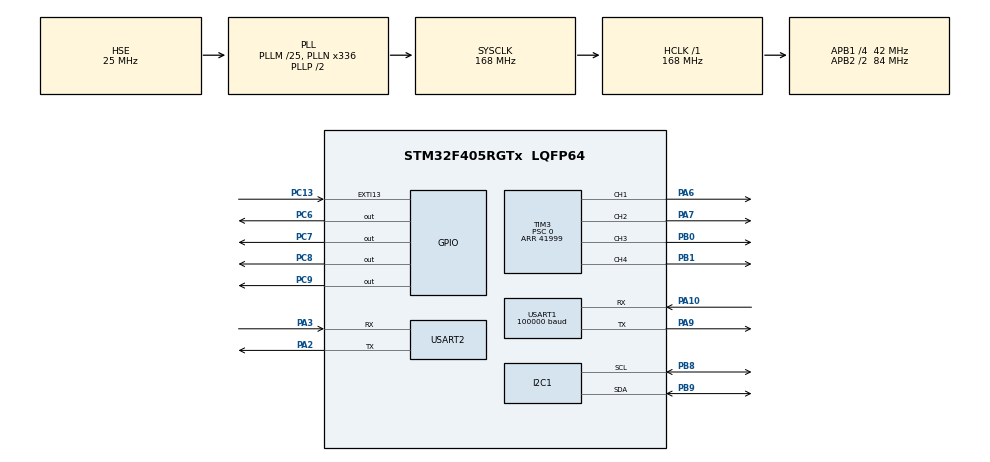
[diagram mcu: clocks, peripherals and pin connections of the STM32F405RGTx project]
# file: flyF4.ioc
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Mcu.Family=STM32F4
Mcu.Name=STM32F405RGTx
Mcu.Package=LQFP64
NVIC.EXTI15_10_IRQn=true\:0\:0\:false\:false\:true\:true\:true\:true
NVIC.PriorityGroup=NVIC_PRIORITYGROUP_4
NVIC.TIM4_IRQn=true\:0\:0\:false\:false\:true\:true\:true\:true
NVIC.USART1_IRQn=true\:0\:0\:false\:false\:true\:true\:true\:true
NVIC.USART2_IRQn=true\:0\:0\:false\:false\:true\:true\:true\:true
PA10.Mode=Asynchronous
PA10.Signal=USART1_RX
PA13.Mode=Serial_Wire
PA13.Signal=SYS_JTMS-SWDIO
PA14.Mode=Serial_Wire
PA14.Signal=SYS_JTCK-SWCLK
PA2.Mode=Asynchronous
PA2.Signal=USART2_TX
PA3.Mode=Asynchronous
PA3.Signal=USART2_RX
PA6.Signal=S_TIM3_CH1
PA7.Signal=S_TIM3_CH2
PA9.Mode=Asynchronous
PA9.Signal=USART1_TX
PB0.Signal=S_TIM3_CH3
PB1.Signal=S_TIM3_CH4
PB8.Mode=I2C
PB8.Signal=I2C1_SCL
PB9.Mode=I2C
PB9.Signal=I2C1_SDA
PC13-ANTI_TAMP.Signal=GPXTI13
PC6.GPIO_ModeDefaultOutputPP=GPIO_MODE_OUTPUT_PP
PC6.GPIO_PuPd=GPIO_PULLUP
PC6.GPIO_Speed=GPIO_SPEED_FREQ_HIGH
PC6.PinState=GPIO_PIN_SET
PC6.Signal=GPIO_Output
PC7.GPIO_ModeDefaultOutputPP=GPIO_MODE_OUTPUT_PP
PC7.GPIO_PuPd=GPIO_PULLUP
PC7.GPIO_Speed=GPIO_SPEED_FREQ_HIGH
PC7.PinState=GPIO_PIN_SET
PC7.Signal=GPIO_Output
PC8.GPIO_ModeDefaultOutputPP=GPIO_MODE_OUTPUT_PP
PC8.GPIO_PuPd=GPIO_PULLUP
PC8.GPIO_Speed=GPIO_SPEED_FREQ_HIGH
PC8.PinState=GPIO_PIN_SET
PC8.Signal=GPIO_Output
PC9.GPIO_ModeDefaultOutputPP=GPIO_MODE_OUTPUT_PP
PC9.GPIO_PuPd=GPIO_PULLUP
PC9.GPIO_Speed=GPIO_SPEED_FREQ_HIGH
PC9.PinState=GPIO_PIN_SET
PC9.Signal=GPIO_Output
PH0-OSC_IN.Mode=HSE-External-Oscillator
PH0-OSC_IN.Signal=RCC_OSC_IN
PH1-OSC_OUT.Mode=HSE-External-Oscillator
PH1-OSC_OUT.Signal=RCC_OSC_OUT
ProjectManager.HeapSize=0x200
ProjectManager.StackSize=0x400
ProjectManager.TargetToolchain=STM32CubeIDE
RCC.48MHZClocksFreq_Value=84000000
RCC.AHBFreq_Value=168000000
RCC.APB1CLKDivider=RCC_HCLK_DIV4
RCC.APB1Freq_Value=42000000
RCC.APB1TimFreq_Value=84000000
RCC.APB2CLKDivider=RCC_HCLK_DIV2
RCC.APB2Freq_Value=84000000
RCC.APB2TimFreq_Value=168000000
RCC.CortexFreq_Value=168000000
RCC.HCLKFreq_Value=168000000
RCC.HSE_VALUE=25000000
RCC.HSI_VALUE=16000000
RCC.LSE_VALUE=32768
RCC.PLLM=25
RCC.PLLN=336
RCC.PLLSourceVirtual=RCC_PLLSOURCE_HSE
RCC.SYSCLKFreq_VALUE=168000000
RCC.SYSCLKSource=RCC_SYSCLKSOURCE_PLLCLK
RCC.VCOOutputFreq_Value=336000000
SH.S_TIM3_CH1.0=TIM3_CH1,PWM Generation1 CH1
SH.S_TIM3_CH2.0=TIM3_CH2,PWM Generation2 CH2
SH.S_TIM3_CH3.0=TIM3_CH3,PWM Generation3 CH3
SH.S_TIM3_CH4.0=TIM3_CH4,PWM Generation4 CH4
TIM2.Prescaler=83
TIM3.Channel-PWM\ Generation1\ CH1=TIM_CHANNEL_1
TIM3.Channel-PWM\ Generation2\ CH2=TIM_CHANNEL_2
TIM3.Channel-PWM\ Generation3\ CH3=TIM_CHANNEL_3
TIM3.Channel-PWM\ Generation4\ CH4=TIM_CHANNEL_4
TIM3.Period=41999
TIM3.Prescaler=0
TIM4.Period=1000-1
TIM4.Prescaler=83
TIM5.Prescaler=83
USART1.BaudRate=100000
USART1.Parity=PARITY_EVEN
USART1.StopBits=STOPBITS_2
USART1.VirtualMode=VM_ASYNC
USART1.WordLength=WORDLENGTH_9B
USART2.VirtualMode=VM_ASYNC
VP_TIM2_VS_ClockSourceINT.Mode=Internal
VP_TIM3_VS_ClockSourceINT.Mode=Internal
VP_TIM4_VS_ClockSourceINT.Mode=Internal
VP_TIM5_VS_ClockSourceINT.Mode=Internal
board=custom

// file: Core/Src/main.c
/* USER CODE BEGIN Header */
/**
  ******************************************************************************
  * @file           : main.c
  * @brief          : Main program body
  ******************************************************************************
  * @attention
  *
  * Copyright (c) 2024 STMicroelectronics.
  * All rights reserved.
  *
  * This software is licensed under terms that can be found in the LICENSE file
  * in the root directory of this software component.
  * If no LICENSE file comes with this software, it is provided AS-IS.
  *
  ******************************************************************************
  */
/* USER CODE END Header */
#include "main.h"

/* USER CODE BEGIN Includes */
#include "mpu.h"
#include "math.h"
#include "gsc.h"
#include "stdlib.h"
#include "mpu.h"
#include "sbus.h"
#include "pid.h"
#include "stdio.h"
#include "stm32f4xx.h"
#include "stm32f4xx_hal.h"
/* USER CODE END Includes */

/* USER CODE BEGIN PTD */
int mapValue(int value, int inMin, int inMax, int outMin, int outMax);
/* USER CODE END PTD */

/* USER CODE BEGIN PD */
//check
uint8_t flag_ppm = 0;

//GSC and FC
uint8_t uart2_rx_data;
uint8_t telemetry_tx_buf[40];
uint8_t telemetry_rx_buf[20];
uint8_t telemetry_rx_cplt_flag;
float batVolt;
//PID
//float PID[6][3]; //Lần lượt roll pitch yaw và inter outter
extern PIDDouble roll;
extern PIDDouble pitch;
extern PIDSingle yaw_heading;
extern PIDSingle yaw_rate;

float roll_in_kp;
float roll_in_ki;
float roll_in_kd;

float roll_out_kp;
float roll_out_ki;
float roll_out_kd;

float pitch_in_kp;
float pitch_in_ki;
float pitch_in_kd;

float pitch_out_kp;
float pitch_out_ki;
float pitch_out_kd;

float yaw_heading_kp;
float yaw_heading_ki;
float yaw_heading_kd;

float yaw_rate_kp;
float yaw_rate_ki;
float yaw_rate_kd;
//time
uint32_t loop_timer,cuoi2,time1,time2;
//mpu
long gyro_x_cal;
long gyro_y_cal;
long gyro_z_cal;

float acc_x;
float acc_y;
float acc_z;
float gyro_x;
float gyro_y;
float gyro_z;
float AccX, AccY, AccZ;

float gyro_roll_input;
float gyro_pitch_input;
float gyro_yaw_input;
float angle_roll_output;
float angle_pitch_output;
float angle_yaw_output;
float angle_roll;
float angle_pitch;
float angle_yaw;
MPU9250_t mpu;
//cotrol
volatile ppm_ch ch;
uint8_t pulse=0;
volatile long tick;
int receiver_input_channel_1;
int receiver_input_channel_2;
int receiver_input_channel_3;
int receiver_input_channel_4;
int receiver_input_channel_5;
int receiver_input_channel_6;

//kalman
//kalman
float Kalman1DOutput[]={0,0};
float AngleRoll, AnglePitch,AngleYaw;
float KalmanAngleRoll=0, KalmanUncertaintyAngleRoll=2*2;
float KalmanAnglePitch=0, KalmanUncertaintyAnglePitch=2*2;
float DesiredAngleRoll, DesiredAnglePitch,DesiredRateYaw;

float ErrorRateRoll, ErrorRatePitch, ErrorRateYaw;
float InputRoll, InputThrottle, InputPitch, InputYaw;
float PrevErrorRateRoll, PrevErrorRatePitch, PrevErrorRateYaw;
float PrevItermRateRoll, PrevItermRatePitch, PrevItermRateYaw;

//
//Timer
 uint8_t tim7_20ms_flag;
 uint8_t tim7_100ms_flag;
//
 //esc

 unsigned short ccr1, ccr2, ccr3, ccr4;

 //sbus
 extern uint8_t sbus_original_data[25];
 uint8_t rx_data4[128] = {0x00};
 uint8_t rx_size4 = 0;
 extern uint16_t sbus_ch[16];

/* USER CODE END PD */

I2C_HandleTypeDef hi2c1;

TIM_HandleTypeDef htim2;
TIM_HandleTypeDef htim3;
TIM_HandleTypeDef htim4;
TIM_HandleTypeDef htim5;

UART_HandleTypeDef huart1;
UART_HandleTypeDef huart2;

/* USER CODE BEGIN PV */
void HAL_UART_RxCpltCallback(UART_HandleTypeDef *huart)
{
	static unsigned char cnt = 0;

	if(huart->Instance == USART2)
	{
		HAL_UART_Receive_IT(&huart2, &uart2_rx_data, 1);

		switch(cnt)
		{
		case 0:
			if(uart2_rx_data == 0x47)
			{
				telemetry_rx_buf[cnt] = uart2_rx_data;
				cnt++;
			}
			break;
		case 1:
			if(uart2_rx_data == 0x53)
			{
				telemetry_rx_buf[cnt] = uart2_rx_data;
				cnt++;
			}
			else
				cnt = 0;
			break;
		case 19:
			telemetry_rx_buf[cnt] = uart2_rx_data;
			cnt = 0;
			telemetry_rx_cplt_flag = 1;
			break;
		default:
			telemetry_rx_buf[cnt] = uart2_rx_data;
			cnt++;
			break;
		}
	}
//	 else if (huart->Instance == USART1)
//	  {
//	    if(rx_size4 == 0)
//		{
//		  if(rx_data4[rx_size4] == 0x0F)
//			  rx_size4++;
//		  else
//			  rx_size4 = 0;
//		}
//		else
//		{
//			rx_size4++;
//			if(rx_size4 == 25)
//			{
//				for(int i = 0; i < 25; i++)
//				{
//					sbus_original_data[i] = rx_data4[i];
//				}
//
//				rx_size4 = 0;
//			}
//		}
//	    sbus_update();
//	    HAL_UART_Receive_IT(&huart1, rx_data4+rx_size4, 1);
//	  }
//	  else
//	  {
//
//	  }
}
void HAL_TIM_PeriodElapsedCallback(TIM_HandleTypeDef *htim)
{
	static unsigned char tim7_20ms_count = 0;
	static unsigned char tim7_100ms_count = 0;
	if(htim->Instance == htim4.Instance)
	 {

				tim7_20ms_count++;
				if(tim7_20ms_count == 20)
				{
					tim7_20ms_count = 0;
					tim7_20ms_flag = 1;
				}

				tim7_100ms_count++;
				if(tim7_100ms_count == 100)
				{
					tim7_100ms_count = 0;
					tim7_100ms_flag = 1;
				}
	 }
}

void kalman_1d(float KalmanState, float KalmanUncertainty, float KalmanInput, float KalmanMeasurement) {
  KalmanState=KalmanState+0.006*KalmanInput;
  KalmanUncertainty=KalmanUncertainty + 0.004 * 0.004 * 4 * 4;
  float KalmanGain=KalmanUncertainty * 1/(1*KalmanUncertainty + 3 * 3);
  KalmanState=KalmanState+KalmanGain * (KalmanMeasurement-KalmanState);
  KalmanUncertainty=(1-KalmanGain) * KalmanUncertainty;
  Kalman1DOutput[0]=KalmanState;
  Kalman1DOutput[1]=KalmanUncertainty;
}
void gyro_get_data(){
	 update_accel_gyro(&mpu);
	 HAL_GPIO_TogglePin(GPIOC, GPIO_PIN_8);
	 gyro_x=mpu.g[0]-(2.9);
	 gyro_y=mpu.g[1]-(-2.15);
	 gyro_z=mpu.g[2]-(0.1);

	  AccX=mpu.a[0];
	  AccY=mpu.a[1];
	  AccZ=mpu.a[2];
	  AngleRoll=atan(AccY/sqrt(AccX*AccX+AccZ*AccZ))*1/(3.142/180);
	  AnglePitch=-atan(AccX/sqrt(AccY*AccY+AccZ*AccZ))*1/(3.142/180);
	  AngleYaw=atan(AccZ/sqrt(AccY*AccY+AccX*AccX))*1/(3.142/180);
	  AnglePitch-=2.5;
	  AngleRoll-=(-0.7);

	//gyro_x *= -1;
//	gyro_y *= -1;
	//gyro_z *= -1;

}
void HAL_GPIO_EXTI_Callback (uint16_t GPIO_Pin){
	if(GPIO_Pin == GPIO_PIN_13){
		flag_ppm = 1;
		tick = __HAL_TIM_GET_COUNTER(&htim5);
		__HAL_TIM_SET_COUNTER(&htim5,0);
		if(tick < 2108){

			if(pulse==2){
				//if(tick<1000 || abs(tick - ch.ch[pulse])>200) ch.ch[pulse]=ch.ch[pulse];
				//else
					ch.ch[pulse]= tick;
			}
			else if((pulse ==4) || (pulse ==5)){
				ch.ch[pulse]= tick;
			}
			else{
//				if(tick<1200 || tick >1700 ) ch[pulse]=ch[pulse];
//				else
				//if(tick<1000 || abs(tick - ch.ch[pulse])>200) ch.ch[pulse]=ch.ch[pulse];
				//else
				//	ch.ch[pulse]= mapValue(tick, 1200, 1700, 1000, 2000);
				ch.ch[pulse]= tick;
			}

			//ch[pulse]= tick;
			pulse++;
		}
		else{
			__HAL_TIM_SET_COUNTER(&htim5,0);
			pulse = 0;
		}

	}

}

int mapValue(int value, int inMin, int inMax, int outMin, int outMax) {
if (value < inMin) return outMin;
else if (value > inMax) return outMax;

return (value - inMin) * (outMax - outMin) / (inMax - inMin) + outMin;
}

/* USER CODE END PV */

void SystemClock_Config(void);
static void MX_GPIO_Init(void);
static void MX_I2C1_Init(void);
static void MX_USART2_UART_Init(void);
static void MX_TIM3_Init(void);
static void MX_TIM4_Init(void);
static void MX_TIM5_Init(void);
static void MX_TIM2_Init(void);
static void MX_USART1_UART_Init(void);

int main(void)
{

  /* MCU Configuration--------------------------------------------------------*/

  /* Reset of all peripherals, Initializes the Flash interface and the Systick. */
  HAL_Init();

  /* Configure the system clock */
  SystemClock_Config();

  /* Initialize all configured peripherals */
  MX_GPIO_Init();
  MX_I2C1_Init();
  MX_USART2_UART_Init();
  MX_TIM3_Init();
  MX_TIM4_Init();
  MX_TIM5_Init();
  MX_TIM2_Init();
  MX_USART1_UART_Init();
  /* USER CODE BEGIN 2 */
  HAL_TIM_Base_Start(&htim5);
  	HAL_GPIO_WritePin(GPIOC, GPIO_PIN_6, 0);
  	//HAL_UART_Receive_IT(&huart1, rx_data4, 1);

  	HAL_TIM_Base_Start_IT(&htim4);
	while(flag_ppm==0) {
      	 HAL_Delay(100);
      	 HAL_GPIO_TogglePin(GPIOC, GPIO_PIN_7);
      	 HAL_Delay(100);
      	 HAL_GPIO_TogglePin(GPIOC, GPIO_PIN_7);
      	 HAL_Delay(100);
      	 HAL_GPIO_TogglePin(GPIOC, GPIO_PIN_7);
      	 HAL_Delay(100);
      	 HAL_GPIO_TogglePin(GPIOC, GPIO_PIN_7);
      	 printf("\nPPM failed. Program shutting down...\n");

   	      }
   	printf("PPM OK!\n\n");

  	HAL_TIM_PWM_Start(&htim3, TIM_CHANNEL_1);
  	HAL_TIM_PWM_Start(&htim3, TIM_CHANNEL_2);
  	HAL_TIM_PWM_Start(&htim3, TIM_CHANNEL_3);
  	HAL_TIM_PWM_Start(&htim3, TIM_CHANNEL_4);
  	//HAL_Delay(10);
  	if(ch.ch[4] < 1100){
  			TIM3->CCR1 = 21000;
  	    	TIM3->CCR2 = 21000;
  	    	TIM3->CCR3 = 21000;
  	    	TIM3->CCR4 = 21000;
  	      HAL_Delay(7000);
  	      	TIM3->CCR1 = 10500;
  	      	TIM3->CCR2 = 10500;
  	      	TIM3->CCR3 = 10500;
  	      	TIM3->CCR4 = 10500;
  	      HAL_Delay(8000);
  		}
//      __HAL_TIM_SET_COMPARE(&htim3,TIM_CHANNEL_1,0);
//      __HAL_TIM_SET_COMPARE(&htim3,TIM_CHANNEL_2,0);
//      __HAL_TIM_SET_COMPARE(&htim3,TIM_CHANNEL_3,0);
//      __HAL_TIM_SET_COMPARE(&htim3,TIM_CHANNEL_4,0);

   	 HAL_Delay(1000);
   	 HAL_GPIO_TogglePin(GPIOC, GPIO_PIN_7);
   	 HAL_Delay(1000);
   	 HAL_GPIO_TogglePin(GPIOC, GPIO_PIN_7);
   	 HAL_Delay(1000);
   	 HAL_GPIO_TogglePin(GPIOC, GPIO_PIN_7);
   	 HAL_Delay(1000);
   	 HAL_GPIO_TogglePin(GPIOC, GPIO_PIN_7);
   	 printf("Checking sensor connection..\n");

   	 MPU9250SetDefault(&mpu);
   	while(!(setupMPU(&mpu, MPU9250_ADDRESS)==1)) {
      	 HAL_Delay(100);
      	 HAL_GPIO_TogglePin(GPIOC, GPIO_PIN_7);
      	 HAL_Delay(100);
      	 HAL_GPIO_TogglePin(GPIOC, GPIO_PIN_7);
      	 HAL_Delay(100);
      	 HAL_GPIO_TogglePin(GPIOC, GPIO_PIN_7);
      	 HAL_Delay(100);
      	 HAL_GPIO_TogglePin(GPIOC, GPIO_PIN_7);
      	 printf("\nMPU9250 failed. Program shutting down...\n");

   	      }
   	printf("All sensors OK!\n\n");

      HAL_Delay(10);

  	  Encode_Msg_PID_Gain(&telemetry_tx_buf[0],0,roll_in_kp,roll_in_ki,roll_in_kd);
  	  HAL_UART_Transmit(&huart2, &telemetry_tx_buf[0], 20, 10);

  	  Encode_Msg_PID_Gain(&telemetry_tx_buf[0], 1, roll_out_kp, roll_out_ki, roll_out_kd);
  	  HAL_UART_Transmit(&huart2, &telemetry_tx_buf[0], 20, 10);

  	  Encode_Msg_PID_Gain(&telemetry_tx_buf[0], 2, pitch_in_kp, pitch_in_ki, pitch_in_kd);
  	  HAL_UART_Transmit(&huart2, &telemetry_tx_buf[0], 20, 10);

  	  Encode_Msg_PID_Gain(&telemetry_tx_buf[0], 3, pitch_out_kp, pitch_out_ki, pitch_out_kd);
  	  HAL_UART_Transmit(&huart2, &telemetry_tx_buf[0], 20, 10);

  	  Encode_Msg_PID_Gain(&telemetry_tx_buf[0], 4, yaw_heading_kp, yaw_heading_ki, yaw_heading_kd);
  	  HAL_UART_Transmit(&huart2, &telemetry_tx_buf[0], 20, 10);

  	  Encode_Msg_PID_Gain(&telemetry_tx_buf[0], 5, yaw_rate_kp, yaw_rate_ki, yaw_rate_kd);
  	  HAL_UART_Transmit(&huart2, &telemetry_tx_buf[0], 20, 10);
      //HAL_UART_Receive_IT(&huart1, &uart1_rx_data, 1);
      HAL_UART_Receive_IT(&huart2, &uart2_rx_data, 1);
      HAL_Delay(10);

      for(int i=0;i<100;i++){
           if(updateMPU(&mpu)==1){
          	 //HAL_GPIO_WritePin(GPIOC, GPIO_PIN_9,0);
          	 HAL_Delay(100);
          	 HAL_GPIO_TogglePin(GPIOC, GPIO_PIN_6);
           }
       }
      while(!(ch.ch[4] > 1100 && ch.ch[2] <1010 )){
    	  	  	  	 HAL_Delay(100);
    	        	 HAL_GPIO_TogglePin(GPIOC, GPIO_PIN_7);
    	        	 HAL_Delay(100);
    	        	 HAL_GPIO_TogglePin(GPIOC, GPIO_PIN_7);
    	        	 HAL_Delay(100);
    	        	 HAL_GPIO_TogglePin(GPIOC, GPIO_PIN_7);
    	        	 HAL_Delay(100);
    	        	 HAL_GPIO_TogglePin(GPIOC, GPIO_PIN_7);
    	        	 printf("\nControl don't ready. Program shutting down...\n");

      }
      HAL_GPIO_WritePin(GPIOC, GPIO_PIN_6, 1);
      HAL_TIM_Base_Start(&htim2);
      loop_timer = __HAL_TIM_GET_COUNTER(&htim2);
      HAL_GPIO_WritePin(GPIOC, GPIO_PIN_9, 0);
  /* USER CODE END 2 */

  /* Infinite loop */
  /* USER CODE BEGIN WHILE */
  while (1)
  {
	  time1 = __HAL_TIM_GET_COUNTER(&htim2);
	  //ch.ch[5]=1000;
//tranfer
	  if((ch.ch[4] < 1600 && ch.ch[4] > 1400) && ch.ch[2] < 1005 )
	  {
			TIM3->CCR1 = 10500;
			TIM3->CCR2 = 10500;
			TIM3->CCR3 = 10500;
			TIM3->CCR4 = 10500;
			if(telemetry_rx_cplt_flag == 1)
			{
				telemetry_rx_cplt_flag = 0;

			  unsigned char chksum = 0xff;
			  for(int i=0;i<19;i++) chksum = chksum - telemetry_rx_buf[i];

			  if(chksum == telemetry_rx_buf[19])
			  {
//				  LL_TIM_CC_EnableChannel(TIM3, LL_TIM_CHANNEL_CH4);
//
//				  TIM3->PSC = 1000;
//				  HAL_Delay(10);
//
//				  LL_TIM_CC_DisableChannel(TIM3, LL_TIM_CHANNEL_CH4);

				  switch(telemetry_rx_buf[2])
				  {
				  case 0:
					  roll_in_kp = *(float*)&telemetry_rx_buf[3];
					  roll_in_ki = *(float*)&telemetry_rx_buf[7];
					  roll_in_kd = *(float*)&telemetry_rx_buf[11];
					  roll.in.kp = *(float*)&telemetry_rx_buf[3];
					  roll.in.ki = *(float*)&telemetry_rx_buf[7];
					  roll.in.kd = *(float*)&telemetry_rx_buf[11];
					  //EP_PIDGain_Write(telemetry_rx_buf[2], roll_in_kp, roll_in_ki, roll_in_kd);
					  //EP_PIDGain_Read(telemetry_rx_buf[2], &roll_in_kp, &roll_in_ki, &roll_in_kd);
					  Encode_Msg_PID_Gain(&telemetry_tx_buf[0], telemetry_rx_buf[2], roll_in_kp, roll_in_ki, roll_in_kd);
					  HAL_UART_Transmit_IT(&huart2, &telemetry_tx_buf[0], 20);
					  break;
				  case 1:
					  roll_out_kp = *(float*)&telemetry_rx_buf[3];
					  roll_out_ki = *(float*)&telemetry_rx_buf[7];
					  roll_out_kd = *(float*)&telemetry_rx_buf[11];
					  roll.out.kp = *(float*)&telemetry_rx_buf[3];
					  roll.out.ki = *(float*)&telemetry_rx_buf[7];
					  roll.out.kd = *(float*)&telemetry_rx_buf[11];
					  //EP_PIDGain_Write(telemetry_rx_buf[2], roll_out_kp, roll_out_ki, roll_out_kd);
					 // EP_PIDGain_Read(telemetry_rx_buf[2], &roll_out_kp, &roll_out_ki, &roll_out_kd);
					  Encode_Msg_PID_Gain(&telemetry_tx_buf[0], telemetry_rx_buf[2], roll_out_kp, roll_out_ki, roll_out_kd);
					  HAL_UART_Transmit_IT(&huart2, &telemetry_tx_buf[0], 20);
					  break;
				  case 2:
					  pitch_in_kp = *(float*)&telemetry_rx_buf[3];
					  pitch_in_ki = *(float*)&telemetry_rx_buf[7];
					  pitch_in_kd = *(float*)&telemetry_rx_buf[11];
					  pitch.in.kp = *(float*)&telemetry_rx_buf[3];
					  pitch.in.ki = *(float*)&telemetry_rx_buf[7];
					  pitch.in.kd = *(float*)&telemetry_rx_buf[11];
					  //EP_PIDGain_Write(telemetry_rx_buf[2], pitch_in_kp, pitch_in_ki, pitch_in_kd);
					  //EP_PIDGain_Read(telemetry_rx_buf[2], &pitch_in_kp, &pitch_in_ki, &pitch_in_kd);
					  Encode_Msg_PID_Gain(&telemetry_tx_buf[0], telemetry_rx_buf[2], pitch_in_kp, pitch_in_ki, pitch_in_kd);
					  HAL_UART_Transmit_IT(&huart2, &telemetry_tx_buf[0], 20);
					  break;
				  case 3:
					  pitch_out_kp = *(float*)&telemetry_rx_buf[3];
					  pitch_out_ki = *(float*)&telemetry_rx_buf[7];
					  pitch_out_kd = *(float*)&telemetry_rx_buf[11];
					  pitch.out.kp = *(float*)&telemetry_rx_buf[3];
					  pitch.out.ki = *(float*)&telemetry_rx_buf[7];
					  pitch.out.kd = *(float*)&telemetry_rx_buf[11];
					  //EP_PIDGain_Write(telemetry_rx_buf[2], pitch_out_kp, pitch_out_ki, pitch_out_kd);
					  //EP_PIDGain_Read(telemetry_rx_buf[2], &pitch_out_kp, &pitch_out_ki, &pitch_out_kd);
					  Encode_Msg_PID_Gain(&telemetry_tx_buf[0], telemetry_rx_buf[2], pitch_out_kp, pitch_out_ki, pitch_out_kd);
					  HAL_UART_Transmit_IT(&huart2, &telemetry_tx_buf[0], 20);
					  break;
				  case 4:
					  yaw_heading_kp = *(float*)&telemetry_rx_buf[3];
					  yaw_heading_ki = *(float*)&telemetry_rx_buf[7];
					  yaw_heading_kd = *(float*)&telemetry_rx_buf[11];
					  yaw_heading.kp = *(float*)&telemetry_rx_buf[3];
					  yaw_heading.ki = *(float*)&telemetry_rx_buf[7];
					  yaw_heading.kd = *(float*)&telemetry_rx_buf[11];
					  //EP_PIDGain_Write(telemetry_rx_buf[2], yaw_heading_kp, yaw_heading_ki, yaw_heading_kd);
					  //EP_PIDGain_Read(telemetry_rx_buf[2], &yaw_heading_kp, &yaw_heading_ki, &yaw_heading_kd);
					  Encode_Msg_PID_Gain(&telemetry_tx_buf[0], telemetry_rx_buf[2], yaw_heading_kp, yaw_heading_ki, yaw_heading_kd);
					  HAL_UART_Transmit_IT(&huart2, &telemetry_tx_buf[0], 20);
					  break;
				  case 5:
					  yaw_rate_kp = *(float*)&telemetry_rx_buf[3];
					  yaw_rate_ki = *(float*)&telemetry_rx_buf[7];
					  yaw_rate_kd = *(float*)&telemetry_rx_buf[11];
					  yaw_rate.kp = *(float*)&telemetry_rx_buf[3];
					  yaw_rate.ki = *(float*)&telemetry_rx_buf[7];
					  yaw_rate.kd = *(float*)&telemetry_rx_buf[11];
					  //EP_PIDGain_Write(telemetry_rx_buf[2], yaw_rate_kp, yaw_rate_ki, yaw_rate_kd);
					  //EP_PIDGain_Read(telemetry_rx_buf[2], &yaw_rate_kp, &yaw_rate_ki, &yaw_rate_kd);
					  Encode_Msg_PID_Gain(&telemetry_tx_buf[0], telemetry_rx_buf[2], yaw_rate_kp, yaw_rate_ki, yaw_rate_kd);
					  HAL_UART_Transmit_IT(&huart2, &telemetry_tx_buf[0], 20);
					  break;
				  case 0x10:
					  switch(telemetry_rx_buf[3])
					  {

					  case 0:
						  Encode_Msg_PID_Gain(&telemetry_tx_buf[0], telemetry_rx_buf[3], roll.in.kp, roll.in.ki, roll.in.kd);
						  HAL_UART_Transmit(&huart2, &telemetry_tx_buf[0], 20, 10);
						  break;
					  case 1:
						  Encode_Msg_PID_Gain(&telemetry_tx_buf[0], telemetry_rx_buf[3], roll.out.kp, roll.out.ki, roll.out.kd);
						  HAL_UART_Transmit(&huart2, &telemetry_tx_buf[0], 20, 10);
						  break;
					  case 2:
						  Encode_Msg_PID_Gain(&telemetry_tx_buf[0], telemetry_rx_buf[3], pitch.in.kp, pitch.in.ki, pitch.in.kd);
						  HAL_UART_Transmit(&huart2, &telemetry_tx_buf[0], 20, 10);
						  break;
					  case 3:
						  Encode_Msg_PID_Gain(&telemetry_tx_buf[0], telemetry_rx_buf[3], pitch.out.kp, pitch.out.ki, pitch.out.kd);
						  HAL_UART_Transmit(&huart2, &telemetry_tx_buf[0], 20, 10);
						  break;
					  case 4:
						  Encode_Msg_PID_Gain(&telemetry_tx_buf[0], telemetry_rx_buf[3], yaw_heading.kp, yaw_heading.ki, yaw_heading.kd);
						  HAL_UART_Transmit(&huart2, &telemetry_tx_buf[0], 20, 10);
						  break;
					  case 5:
						  Encode_Msg_PID_Gain(&telemetry_tx_buf[0], telemetry_rx_buf[3], yaw_rate.kp, yaw_rate.ki, yaw_rate.kd);
						  HAL_UART_Transmit(&huart2, &telemetry_tx_buf[0], 20, 10);
						  break;
					  case 6:
						  Encode_Msg_PID_Gain(&telemetry_tx_buf[0], 0, roll.in.kp, roll.in.ki, roll.in.kd);
						  HAL_UART_Transmit(&huart2, &telemetry_tx_buf[0], 20, 10);
						  Encode_Msg_PID_Gain(&telemetry_tx_buf[0], 1, roll.out.kp, roll.out.ki, roll.out.kd);
						  HAL_UART_Transmit(&huart2, &telemetry_tx_buf[0], 20, 10);
						  Encode_Msg_PID_Gain(&telemetry_tx_buf[0], 2, pitch.in.kp, pitch.in.ki, pitch.in.kd);
						  HAL_UART_Transmit(&huart2, &telemetry_tx_buf[0], 20, 10);
						  Encode_Msg_PID_Gain(&telemetry_tx_buf[0], 3, pitch.out.kp, pitch.out.ki, pitch.out.kd);
						  HAL_UART_Transmit(&huart2, &telemetry_tx_buf[0], 20, 10);
						  Encode_Msg_PID_Gain(&telemetry_tx_buf[0], 4, yaw_heading.kp, yaw_heading.ki, yaw_heading.kd);
						  HAL_UART_Transmit(&huart2, &telemetry_tx_buf[0], 20, 10);
						  Encode_Msg_PID_Gain(&telemetry_tx_buf[0], 5, yaw_rate.kp, yaw_rate.ki, yaw_rate.kd);
						  HAL_UART_Transmit(&huart2, &telemetry_tx_buf[0], 20, 10);
						  break;
					  }
					  break;

				  }
			  }
		  }
	  }

	  if(tim7_20ms_flag == 1 && tim7_100ms_flag != 1)
	  {
		  tim7_20ms_flag = 0;

		  Encode_Msg_AHRS(&telemetry_tx_buf[0]);

		  HAL_UART_Transmit_IT(&huart2, &telemetry_tx_buf[0], 20);
	  }

	  else if(tim7_20ms_flag == 1 && tim7_100ms_flag == 1)
	  {
		  tim7_20ms_flag = 0;
		  tim7_100ms_flag = 0;

		  Encode_Msg_AHRS(&telemetry_tx_buf[0]);
		  //Encode_Msg_GPS(&telemetry_tx_buf[20]);

		  HAL_UART_Transmit_IT(&huart2, &telemetry_tx_buf[0], 40);
	  }

//end trans
	  //time1 = __HAL_TIM_GET_COUNTER(&htim4);
	 // if(updateMPU(&mpu)==1){}
	  gyro_get_data();
  	  //gyro_get_data();
	  //time2 = __HAL_TIM_GET_COUNTER(&htim2)-time1;
//	  receiver_input_channel_1 = ch.ch[2]; //thr
// 	  receiver_input_channel_2 = 1500;//ch[0]; //roll
// 	  receiver_input_channel_3 = 1500;//ch[1];	//pitch
// 	  receiver_input_channel_4 = 1500;//ch[3]; //yaw
// 	  receiver_input_channel_5 = ch.ch[4];	 //sw left
// 	  receiver_input_channel_6 = ch.ch[5]; //sw right

// 	  	gyro_pitch_input 	= ( gyro_pitch_input * 0.7 ) + (float)( gyro_y  * 0.3);
// 		gyro_roll_input 	= ( gyro_roll_input * 0.7 ) + (float)( gyro_x  * 0.3);
// 		gyro_yaw_input 	= ( gyro_yaw_input * 0.7 ) + (float)( gyro_z  * 0.3);
		//kalman_1d(KalmanAngleRoll, KalmanUncertaintyAngleRoll, gyro_x, AngleRoll);
		//KalmanAngleRoll=Kalman1DOutput[0]; KalmanUncertaintyAngleRoll=Kalman1DOutput[1];
		KalmanAngleRoll=AngleRoll;
		//kalman_1d(KalmanAnglePitch, KalmanUncertaintyAnglePitch, gyro_y, AnglePitch);
		//KalmanAnglePitch=Kalman1DOutput[0]; KalmanUncertaintyAnglePitch=Kalman1DOutput[1];
		KalmanAnglePitch=AnglePitch;
		//PID

		if(ch.ch[4] > 1900){
			Double_Roll_Pitch_PID_Calculation(&pitch, (ch.ch[1] - 1500) * 0.1f, KalmanAnglePitch, gyro_y);
			Double_Roll_Pitch_PID_Calculation(&roll, (ch.ch[0] - 1500) * 0.1f, KalmanAngleRoll, gyro_x);

			if(ch.ch[2] < 1010)
			{
				Reset_All_PID_Integrator();
			}
			  ccr1 = 10500 + 500 + (ch.ch[2] - 1000) * 10 - pitch.in.pid_result + roll.in.pid_result;// - (iBus.LH - 1500) * 5;
			  ccr2 = 10500 + 500 + (ch.ch[2] - 1000) * 10 + pitch.in.pid_result + roll.in.pid_result;// + (iBus.LH - 1500) * 5;
			  ccr3 = 10500 + 500 + (ch.ch[2] - 1000) * 10 + pitch.in.pid_result - roll.in.pid_result;// - (iBus.LH - 1500) * 5;
			  ccr4 = 10500 + 500 + (ch.ch[2] - 1000) * 10 - pitch.in.pid_result - roll.in.pid_result;// + (iBus.LH - 1500) * 5;
			  if(ch.ch[2] > 1010)
			  {
				  TIM3->CCR1 = ccr1 > 21000 ? 21000 : ccr1 < 11000 ? 11000 : ccr1;
				  TIM3->CCR2 = ccr2 > 21000 ? 21000 : ccr2 < 11000 ? 11000 : ccr2;
				  TIM3->CCR3 = ccr3 > 21000 ? 21000 : ccr3 < 11000 ? 11000 : ccr3;
				  TIM3->CCR4 = ccr4 > 21000 ? 21000 : ccr4 < 11000 ? 11000 : ccr4;
			  }
			  else
			  {
				  TIM3->CCR1 = 11000;
				  TIM3->CCR2 = 11000;
				  TIM3->CCR3 = 11000;
				  TIM3->CCR4 = 11000;
			  }
		}
		else{

		}

		time2 = __HAL_TIM_GET_COUNTER(&htim2)-time1;
		while(abs(__HAL_TIM_GET_COUNTER(&htim2) - loop_timer) < 4000 );
		cuoi2 = abs(__HAL_TIM_GET_COUNTER(&htim2) - loop_timer);
		__HAL_TIM_SET_COUNTER(&htim2,0);
		loop_timer = __HAL_TIM_GET_COUNTER(&htim2);
    /* USER CODE END WHILE */

  }
}

void SystemClock_Config(void)
{
  RCC_OscInitTypeDef RCC_OscInitStruct = {0};
  RCC_ClkInitTypeDef RCC_ClkInitStruct = {0};

  /** Configure the main internal regulator output voltage
  */
  __HAL_RCC_PWR_CLK_ENABLE();
  __HAL_PWR_VOLTAGESCALING_CONFIG(PWR_REGULATOR_VOLTAGE_SCALE1);

  /** Initializes the RCC Oscillators according to the specified parameters
  * in the RCC_OscInitTypeDef structure.
  */
  RCC_OscInitStruct.OscillatorType = RCC_OSCILLATORTYPE_HSE;
  RCC_OscInitStruct.HSEState = RCC_HSE_ON;
  RCC_OscInitStruct.PLL.PLLState = RCC_PLL_ON;
  RCC_OscInitStruct.PLL.PLLSource = RCC_PLLSOURCE_HSE;
  RCC_OscInitStruct.PLL.PLLM = 25;
  RCC_OscInitStruct.PLL.PLLN = 336;
  RCC_OscInitStruct.PLL.PLLP = RCC_PLLP_DIV2;
  RCC_OscInitStruct.PLL.PLLQ = 4;
  if (HAL_RCC_OscConfig(&RCC_OscInitStruct) != HAL_OK)
  {
    Error_Handler();
  }

  /** Initializes the CPU, AHB and APB buses clocks
  */
  RCC_ClkInitStruct.ClockType = RCC_CLOCKTYPE_HCLK|RCC_CLOCKTYPE_SYSCLK
                              |RCC_CLOCKTYPE_PCLK1|RCC_CLOCKTYPE_PCLK2;
  RCC_ClkInitStruct.SYSCLKSource = RCC_SYSCLKSOURCE_PLLCLK;
  RCC_ClkInitStruct.AHBCLKDivider = RCC_SYSCLK_DIV1;
  RCC_ClkInitStruct.APB1CLKDivider = RCC_HCLK_DIV4;
  RCC_ClkInitStruct.APB2CLKDivider = RCC_HCLK_DIV2;

  if (HAL_RCC_ClockConfig(&RCC_ClkInitStruct, FLASH_LATENCY_5) != HAL_OK)
  {
    Error_Handler();
  }
}

static void MX_I2C1_Init(void)
{

  hi2c1.Instance = I2C1;
  hi2c1.Init.ClockSpeed = 100000;
  hi2c1.Init.DutyCycle = I2C_DUTYCYCLE_2;
  hi2c1.Init.OwnAddress1 = 0;
  hi2c1.Init.AddressingMode = I2C_ADDRESSINGMODE_7BIT;
  hi2c1.Init.DualAddressMode = I2C_DUALADDRESS_DISABLE;
  hi2c1.Init.OwnAddress2 = 0;
  hi2c1.Init.GeneralCallMode = I2C_GENERALCALL_DISABLE;
  hi2c1.Init.NoStretchMode = I2C_NOSTRETCH_DISABLE;
  if (HAL_I2C_Init(&hi2c1) != HAL_OK)
  {
    Error_Handler();
  }

}

static void MX_TIM2_Init(void)
{

  TIM_ClockConfigTypeDef sClockSourceConfig = {0};
  TIM_MasterConfigTypeDef sMasterConfig = {0};

  htim2.Instance = TIM2;
  htim2.Init.Prescaler = 83;
  htim2.Init.CounterMode = TIM_COUNTERMODE_UP;
  htim2.Init.Period = 4294967295;
  htim2.Init.ClockDivision = TIM_CLOCKDIVISION_DIV1;
  htim2.Init.AutoReloadPreload = TIM_AUTORELOAD_PRELOAD_DISABLE;
  if (HAL_TIM_Base_Init(&htim2) != HAL_OK)
  {
    Error_Handler();
  }
  sClockSourceConfig.ClockSource = TIM_CLOCKSOURCE_INTERNAL;
  if (HAL_TIM_ConfigClockSource(&htim2, &sClockSourceConfig) != HAL_OK)
  {
    Error_Handler();
  }
  sMasterConfig.MasterOutputTrigger = TIM_TRGO_RESET;
  sMasterConfig.MasterSlaveMode = TIM_MASTERSLAVEMODE_DISABLE;
  if (HAL_TIMEx_MasterConfigSynchronization(&htim2, &sMasterConfig) != HAL_OK)
  {
    Error_Handler();
  }

}

static void MX_TIM3_Init(void)
{

  TIM_ClockConfigTypeDef sClockSourceConfig = {0};
  TIM_MasterConfigTypeDef sMasterConfig = {0};
  TIM_OC_InitTypeDef sConfigOC = {0};

  htim3.Instance = TIM3;
  htim3.Init.Prescaler = 0;
  htim3.Init.CounterMode = TIM_COUNTERMODE_UP;
  htim3.Init.Period = 41999;
  htim3.Init.ClockDivision = TIM_CLOCKDIVISION_DIV1;
  htim3.Init.AutoReloadPreload = TIM_AUTORELOAD_PRELOAD_DISABLE;
  if (HAL_TIM_Base_Init(&htim3) != HAL_OK)
  {
    Error_Handler();
  }
  sClockSourceConfig.ClockSource = TIM_CLOCKSOURCE_INTERNAL;
  if (HAL_TIM_ConfigClockSource(&htim3, &sClockSourceConfig) != HAL_OK)
  {
    Error_Handler();
  }
  if (HAL_TIM_PWM_Init(&htim3) != HAL_OK)
  {
    Error_Handler();
  }
  sMasterConfig.MasterOutputTrigger = TIM_TRGO_RESET;
  sMasterConfig.MasterSlaveMode = TIM_MASTERSLAVEMODE_DISABLE;
  if (HAL_TIMEx_MasterConfigSynchronization(&htim3, &sMasterConfig) != HAL_OK)
  {
    Error_Handler();
  }
  sConfigOC.OCMode = TIM_OCMODE_PWM1;
  sConfigOC.Pulse = 0;
  sConfigOC.OCPolarity = TIM_OCPOLARITY_HIGH;
  sConfigOC.OCFastMode = TIM_OCFAST_DISABLE;
  if (HAL_TIM_PWM_ConfigChannel(&htim3, &sConfigOC, TIM_CHANNEL_1) != HAL_OK)
  {
    Error_Handler();
  }
  if (HAL_TIM_PWM_ConfigChannel(&htim3, &sConfigOC, TIM_CHANNEL_2) != HAL_OK)
  {
    Error_Handler();
  }
  if (HAL_TIM_PWM_ConfigChannel(&htim3, &sConfigOC, TIM_CHANNEL_3) != HAL_OK)
  {
    Error_Handler();
  }
  if (HAL_TIM_PWM_ConfigChannel(&htim3, &sConfigOC, TIM_CHANNEL_4) != HAL_OK)
  {
    Error_Handler();
  }
  HAL_TIM_MspPostInit(&htim3);

}

static void MX_TIM4_Init(void)
{

  TIM_ClockConfigTypeDef sClockSourceConfig = {0};
  TIM_MasterConfigTypeDef sMasterConfig = {0};

  htim4.Instance = TIM4;
  htim4.Init.Prescaler = 83;
  htim4.Init.CounterMode = TIM_COUNTERMODE_UP;
  htim4.Init.Period = 1000-1;
  htim4.Init.ClockDivision = TIM_CLOCKDIVISION_DIV1;
  htim4.Init.AutoReloadPreload = TIM_AUTORELOAD_PRELOAD_DISABLE;
  if (HAL_TIM_Base_Init(&htim4) != HAL_OK)
  {
    Error_Handler();
  }
  sClockSourceConfig.ClockSource = TIM_CLOCKSOURCE_INTERNAL;
  if (HAL_TIM_ConfigClockSource(&htim4, &sClockSourceConfig) != HAL_OK)
  {
    Error_Handler();
  }
  sMasterConfig.MasterOutputTrigger = TIM_TRGO_RESET;
  sMasterConfig.MasterSlaveMode = TIM_MASTERSLAVEMODE_DISABLE;
  if (HAL_TIMEx_MasterConfigSynchronization(&htim4, &sMasterConfig) != HAL_OK)
  {
    Error_Handler();
  }

}

static void MX_TIM5_Init(void)
{

  TIM_ClockConfigTypeDef sClockSourceConfig = {0};
  TIM_MasterConfigTypeDef sMasterConfig = {0};

  htim5.Instance = TIM5;
  htim5.Init.Prescaler = 83;
  htim5.Init.CounterMode = TIM_COUNTERMODE_UP;
  htim5.Init.Period = 4294967295;
  htim5.Init.ClockDivision = TIM_CLOCKDIVISION_DIV1;
  htim5.Init.AutoReloadPreload = TIM_AUTORELOAD_PRELOAD_DISABLE;
  if (HAL_TIM_Base_Init(&htim5) != HAL_OK)
  {
    Error_Handler();
  }
  sClockSourceConfig.ClockSource = TIM_CLOCKSOURCE_INTERNAL;
  if (HAL_TIM_ConfigClockSource(&htim5, &sClockSourceConfig) != HAL_OK)
  {
    Error_Handler();
  }
  sMasterConfig.MasterOutputTrigger = TIM_TRGO_RESET;
  sMasterConfig.MasterSlaveMode = TIM_MASTERSLAVEMODE_DISABLE;
  if (HAL_TIMEx_MasterConfigSynchronization(&htim5, &sMasterConfig) != HAL_OK)
  {
    Error_Handler();
  }

}

static void MX_USART1_UART_Init(void)
{

  huart1.Instance = USART1;
  huart1.Init.BaudRate = 100000;
  huart1.Init.WordLength = UART_WORDLENGTH_9B;
  huart1.Init.StopBits = UART_STOPBITS_2;
  huart1.Init.Parity = UART_PARITY_EVEN;
  huart1.Init.Mode = UART_MODE_TX_RX;
  huart1.Init.HwFlowCtl = UART_HWCONTROL_NONE;
  huart1.Init.OverSampling = UART_OVERSAMPLING_16;
  if (HAL_UART_Init(&huart1) != HAL_OK)
  {
    Error_Handler();
  }

}

static void MX_USART2_UART_Init(void)
{

  huart2.Instance = USART2;
  huart2.Init.BaudRate = 115200;
  huart2.Init.WordLength = UART_WORDLENGTH_8B;
  huart2.Init.StopBits = UART_STOPBITS_1;
  huart2.Init.Parity = UART_PARITY_NONE;
  huart2.Init.Mode = UART_MODE_TX_RX;
  huart2.Init.HwFlowCtl = UART_HWCONTROL_NONE;
  huart2.Init.OverSampling = UART_OVERSAMPLING_16;
  if (HAL_UART_Init(&huart2) != HAL_OK)
  {
    Error_Handler();
  }

}

static void MX_GPIO_Init(void)
{
  GPIO_InitTypeDef GPIO_InitStruct = {0};

  /* GPIO Ports Clock Enable */
  __HAL_RCC_GPIOC_CLK_ENABLE();
  __HAL_RCC_GPIOH_CLK_ENABLE();
  __HAL_RCC_GPIOA_CLK_ENABLE();
  __HAL_RCC_GPIOB_CLK_ENABLE();

  /*Configure GPIO pin Output Level */
  HAL_GPIO_WritePin(GPIOC, GPIO_PIN_6|GPIO_PIN_7|GPIO_PIN_8|GPIO_PIN_9, GPIO_PIN_SET);

  /*Configure GPIO pin : PC13 */
  GPIO_InitStruct.Pin = GPIO_PIN_13;
  GPIO_InitStruct.Mode = GPIO_MODE_IT_RISING;
  GPIO_InitStruct.Pull = GPIO_NOPULL;
  HAL_GPIO_Init(GPIOC, &GPIO_InitStruct);

  /*Configure GPIO pins : PC6 PC7 PC8 PC9 */
  GPIO_InitStruct.Pin = GPIO_PIN_6|GPIO_PIN_7|GPIO_PIN_8|GPIO_PIN_9;
  GPIO_InitStruct.Mode = GPIO_MODE_OUTPUT_PP;
  GPIO_InitStruct.Pull = GPIO_PULLUP;
  GPIO_InitStruct.Speed = GPIO_SPEED_FREQ_HIGH;
  HAL_GPIO_Init(GPIOC, &GPIO_InitStruct);

  /* EXTI interrupt init*/
  HAL_NVIC_SetPriority(EXTI15_10_IRQn, 0, 0);
  HAL_NVIC_EnableIRQ(EXTI15_10_IRQn);

}

void Error_Handler(void)
{
  __disable_irq();
  while (1)
  {
  }
}
